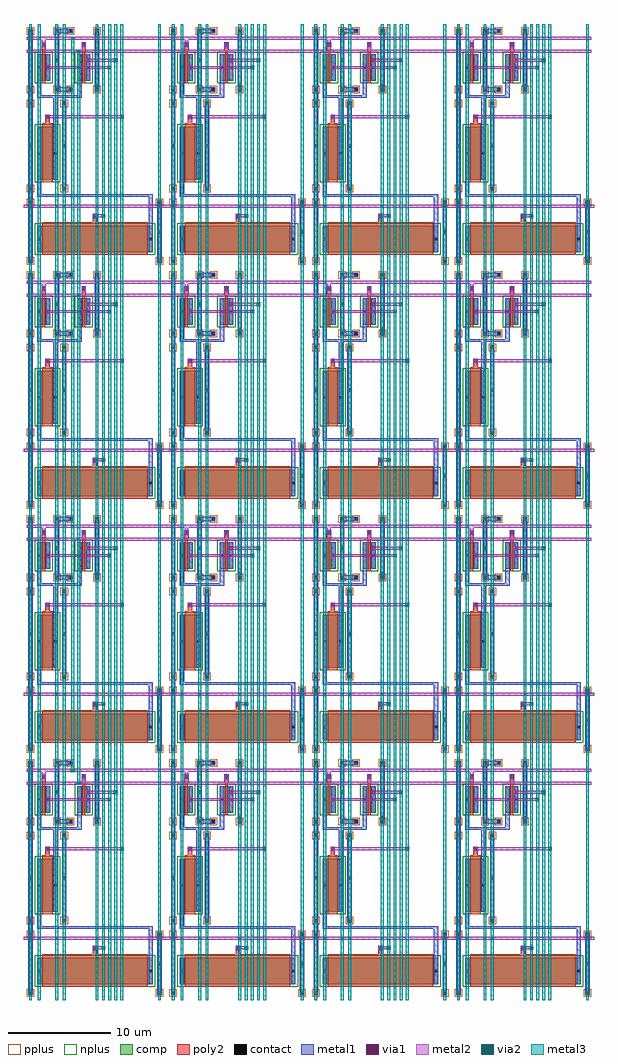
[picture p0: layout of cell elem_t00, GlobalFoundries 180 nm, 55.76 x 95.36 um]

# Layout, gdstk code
import gdstk
lib = gdstk.Library(unit=1e-6, precision=5e-10)
def R(c, l, rs):  # rectangles x0, y0, x1, y1
    for r in rs: c.add(gdstk.rectangle(r[:2], r[2:], *l))
def A(c, l, x, y, w, h, nx, ny, dx, dy):  # array of equal rectangles
    R(c, l, [(x+i*dx, y+j*dy, x+i*dx+w, y+j*dy+h) for i in range(nx) for j in range(ny)])
comp = (22, 0)
poly2 = (30, 0)
pplus = (31, 0)
nplus = (32, 0)
contact = (33, 0)
metal1 = (34, 0)
via1 = (35, 0)
metal2 = (36, 0)
via2 = (38, 0)
metal3 = (42, 0)

prim_cs = lib.new_cell('prim_cs')
R(prim_cs, comp, [(-0.86,-1.07,-0.44,-0.65), (11.74,-1.07,12.16,-0.65), (0,0,11.3,2.6), (-0.86,4.67,-0.44,5.09), (11.74,4.67,12.16,5.09)])
R(prim_cs, poly2, [(0.5,-0.25,10.8,2.6), (0.5,2.6,10.8,2.95), (5.44,2.95,5.86,3.77)])
R(prim_cs, pplus, [(-1.02,-1.23,-0.28,-0.49), (11.58,-1.23,12.32,-0.49), (-1.02,4.51,-0.28,5.25), (11.58,4.51,12.32,5.25)])
R(prim_cs, nplus, [(-0.25,-0.25,11.55,2.85)])
R(prim_cs, contact, [(-0.76,-0.97,-0.54,-0.75), (11.84,-0.97,12.06,-0.75), (0.1,1.19,0.32,1.41), (10.98,1.19,11.2,1.41), (5.54,3.45,5.76,3.67), (-0.76,4.77,-0.54,4.99), (11.84,4.77,12.06,4.99)])
R(prim_cs, metal1, [(-0.86,-1.07,-0.44,-0.65), (11.74,-1.07,12.16,-0.65), (0,0,0.42,2.6), (10.88,0,11.3,2.6), (5.44,3.35,5.86,3.77), (-0.86,4.67,-0.44,5.09), (11.74,4.67,12.16,5.09)])

prim_cas = lib.new_cell('prim_cas')
R(prim_cas, comp, [(-0.86,-1.07,-0.44,-0.65), (2.44,-1.07,2.86,-0.65), (0,0,2,5.2), (-0.86,7.27,-0.44,7.69), (2.44,7.27,2.86,7.69)])
R(prim_cas, poly2, [(0.5,-0.25,1.5,5.2), (0.5,5.2,1.5,5.55), (0.79,5.55,1.21,6.37)])
R(prim_cas, pplus, [(-1.02,-1.23,-0.28,-0.49), (2.28,-1.23,3.02,-0.49), (-1.02,7.11,-0.28,7.85), (2.28,7.11,3.02,7.85)])
R(prim_cas, nplus, [(-0.25,-0.25,2.25,5.45)])
R(prim_cas, contact, [(-0.76,-0.97,-0.54,-0.75), (2.54,-0.97,2.76,-0.75), (0.1,2.49,0.32,2.71), (1.68,2.49,1.9,2.71), (0.89,6.05,1.11,6.27), (-0.76,7.37,-0.54,7.59), (2.54,7.37,2.76,7.59)])
R(prim_cas, metal1, [(-0.86,-1.07,-0.44,-0.65), (2.44,-1.07,2.86,-0.65), (0,0,0.42,5.2), (1.58,0,2,5.2), (0.79,5.95,1.21,6.37), (-0.86,7.27,-0.44,7.69), (2.44,7.27,2.86,7.69)])

prim_sw = lib.new_cell('prim_sw')
R(prim_sw, comp, [(-0.86,-1.07,-0.44,-0.65), (1.72,-1.07,2.14,-0.65), (0,0,1.28,2.6), (-0.86,4.67,-0.44,5.09), (1.72,4.67,2.14,5.09)])
R(prim_sw, poly2, [(0.5,-0.25,0.78,2.6), (0.5,2.6,0.78,2.95), (0.43,2.95,0.85,3.77)])
R(prim_sw, pplus, [(-1.02,-1.23,-0.28,-0.49), (1.56,-1.23,2.3,-0.49), (-1.02,4.51,-0.28,5.25), (1.56,4.51,2.3,5.25)])
R(prim_sw, nplus, [(-0.25,-0.25,1.53,2.85)])
R(prim_sw, contact, [(-0.76,-0.97,-0.54,-0.75), (1.82,-0.97,2.04,-0.75), (0.1,1.19,0.32,1.41), (0.96,1.19,1.18,1.41), (0.53,3.45,0.75,3.67), (-0.76,4.77,-0.54,4.99), (1.82,4.77,2.04,4.99)])
R(prim_sw, metal1, [(-0.86,-1.07,-0.44,-0.65), (1.72,-1.07,2.14,-0.65), (0,0,0.42,2.6), (0.86,0,1.28,2.6), (0.43,3.35,0.85,3.77), (-0.86,4.67,-0.44,5.09), (1.72,4.67,2.14,5.09)])

unit_cell = lib.new_cell('unit_cell')
R(unit_cell, metal1, [(0.16,0.16,0.58,23.08), (12.76,0.16,13.18,6.32), (11.9,3.83,12.32,6.92), (1.02,6.64,12.32,6.92), (1.02,6.64,1.44,8.31), (3.46,7.24,3.88,16), (2.6,13.51,3.02,16.6), (1.02,16.32,1.44,17.99), (1.02,16.32,5.36,16.6), (4.94,16.32,5.36,17.99), (2.74,16.92,3.16,23.08), (2.74,16.92,4.5,17.34), (6.66,16.92,7.08,23.08), (2.74,22.66,4.5,23.08)])
R(unit_cell, via1, [(1.1,2.4,1.36,2.66), (12.84,3.11,13.1,3.37), (6.54,4.66,6.8,4.92), (0.24,11.49,0.5,11.75), (3.54,11.49,3.8,11.75), (1.89,14.34,2.15,14.6), (6.74,17.37,7,17.63), (1.96,19.16,2.22,19.42), (5.88,19.86,6.14,20.12), (2.82,19.87,3.08,20.13), (5.45,21.34,5.71,21.6), (1.53,21.42,1.79,21.68)])
R(unit_cell, metal2, [(1.05,2.35,1.41,2.71), (12.79,3.06,13.15,3.42), (6.49,4.61,6.85,4.97), (7.32,4.61,7.68,4.97), (6.67,4.65,7.5,4.93), (-0.3,5.6,13.64,5.88), (0.19,11.44,0.55,11.8), (3.49,11.44,3.85,11.8), (1.84,14.29,2.2,14.65), (9.12,14.29,9.48,14.65), (2.02,14.33,9.3,14.61), (6.69,17.32,7.05,17.68), (1.91,19.11,2.27,19.47), (7.92,19.11,8.28,19.47), (2.09,19.15,8.1,19.43), (5.83,19.81,6.19,20.17), (8.52,19.81,8.88,20.17), (2.77,19.82,3.13,20.18), (6.01,19.85,8.7,20.13), (0,20.75,13.34,21.03), (5.4,20.89,5.76,21.47), (5.4,21.29,5.76,21.65), (1.48,21.37,1.84,21.73), (1.48,21.55,1.84,22.14), (0,22,13.34,22.28)])
R(unit_cell, via2, [(1.1,2.4,1.36,2.66), (12.84,3.11,13.1,3.37), (7.37,4.66,7.63,4.92), (0.24,5.61,0.5,5.87), (1.1,5.61,1.36,5.87), (2.82,5.61,3.08,5.87), (3.54,5.61,3.8,5.87), (6.74,5.61,7,5.87), (12.84,5.61,13.1,5.87), (0.24,11.49,0.5,11.75), (3.54,11.49,3.8,11.75), (9.17,14.34,9.43,14.6), (6.74,17.37,7,17.63), (7.97,19.16,8.23,19.42), (8.57,19.86,8.83,20.12), (2.82,19.87,3.08,20.13)])
A(unit_cell, metal3, 7.36, -0.3, 0.28, 23.84, 4, 1, 0.6, 0)
R(unit_cell, metal3, [(0.23,-0.3,0.51,23.54), (1.09,-0.3,1.37,23.54), (2.81,-0.3,3.09,23.54), (3.53,-0.3,3.81,23.54), (6.73,-0.3,7.01,23.54), (12.83,-0.3,13.11,23.54), (1.05,2.35,1.41,2.71), (12.79,3.06,13.15,3.42), (7.32,4.61,7.68,4.97), (0.19,11.44,0.55,11.8), (3.49,11.44,3.85,11.8), (9.12,14.29,9.48,14.65), (6.69,17.32,7.05,17.68), (7.92,19.11,8.28,19.47), (8.52,19.81,8.88,20.17), (2.77,19.82,3.13,20.18)])
unit_cell.add(gdstk.Reference(prim_cs, (1.02,1.23)))
unit_cell.add(gdstk.Reference(prim_cas, (1.02,8.31)))
unit_cell.add(gdstk.Reference(prim_sw, (1.02,17.99)))
unit_cell.add(gdstk.Reference(prim_sw, (4.94,17.99)))

elem_t00 = lib.new_cell('elem_t00')
A(elem_t00, metal2, 13.29, 20.75, 0.7, 0.28, 3, 2, 13.94, 1.25)
A(elem_t00, metal2, 13.29, 44.59, 0.7, 0.28, 3, 2, 13.94, 1.25)
A(elem_t00, metal2, 13.29, 68.43, 0.7, 0.28, 3, 2, 13.94, 1.25)
A(elem_t00, metal2, 13.29, 92.27, 0.7, 0.28, 3, 2, 13.94, 1.25)
R(elem_t00, via2, [(4.97,20.76,5.23,21.02), (4.97,20.76,5.23,21.02), (4.37,22.01,4.63,22.27), (4.37,22.01,4.63,22.27), (4.97,44.6,5.23,44.86), (4.97,44.6,5.23,44.86), (4.37,45.85,4.63,46.11), (4.37,45.85,4.63,46.11), (4.97,68.44,5.23,68.7), (4.97,68.44,5.23,68.7), (4.37,69.69,4.63,69.95), (4.37,69.69,4.63,69.95), (4.97,92.28,5.23,92.54), (4.37,93.53,4.63,93.79)])
A(elem_t00, metal3, 4.96, 20.75, 0.28, 24.12, 1, 3, 0, 23.84)
A(elem_t00, metal3, 4.36, 22, 0.28, 24.12, 1, 3, 0, 23.84)
R(elem_t00, metal3, [(4.92,20.71,5.28,21.07), (4.32,21.96,4.68,22.32)])
elem_t00.add(gdstk.Reference(unit_cell, (0,0)))
elem_t00.add(gdstk.Reference(unit_cell, (13.94,0)))
elem_t00.add(gdstk.Reference(unit_cell, (27.88,0)))
elem_t00.add(gdstk.Reference(unit_cell, (41.82,0)))
elem_t00.add(gdstk.Reference(unit_cell, (0,23.84)))
elem_t00.add(gdstk.Reference(unit_cell, (13.94,23.84)))
elem_t00.add(gdstk.Reference(unit_cell, (27.88,23.84)))
elem_t00.add(gdstk.Reference(unit_cell, (41.82,23.84)))
elem_t00.add(gdstk.Reference(unit_cell, (0,47.68)))
elem_t00.add(gdstk.Reference(unit_cell, (13.94,47.68)))
elem_t00.add(gdstk.Reference(unit_cell, (27.88,47.68)))
elem_t00.add(gdstk.Reference(unit_cell, (41.82,47.68)))
elem_t00.add(gdstk.Reference(unit_cell, (0,71.52)))
elem_t00.add(gdstk.Reference(unit_cell, (13.94,71.52)))
elem_t00.add(gdstk.Reference(unit_cell, (27.88,71.52)))
elem_t00.add(gdstk.Reference(unit_cell, (41.82,71.52)))

lib.write_gds('elem_t00.gds')
